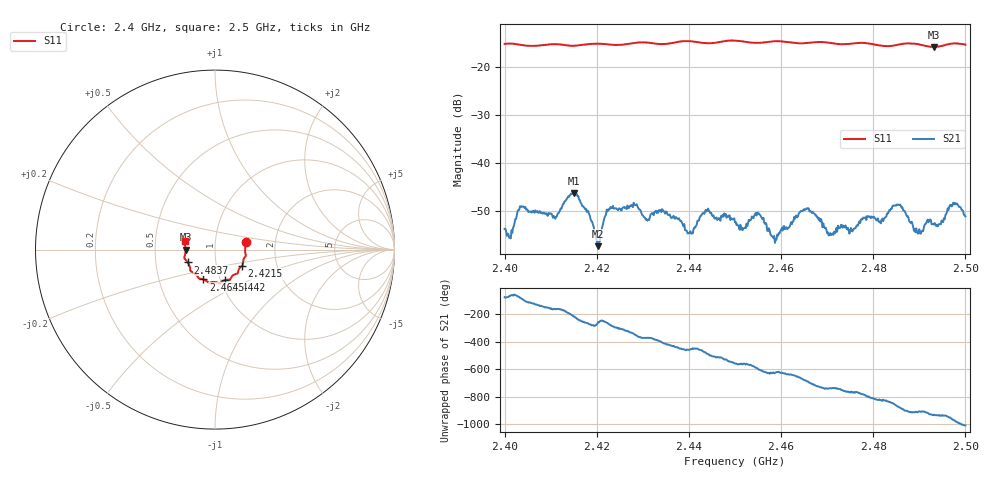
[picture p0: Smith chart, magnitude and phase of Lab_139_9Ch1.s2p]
# Hz S RI R 50
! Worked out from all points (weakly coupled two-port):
!   601 points, 2.4 GHz to 2.5 GHz, reference 50 ohm
!   highest |S21| = -46.23 dB at 2.415 GHz (marker M1); lowest = -57.3 dB at 2.4203 GHz (marker M2)
!   lowest |S11| = -15.7 dB at 2.4932 GHz (marker M3), VSWR 1.39, Z = 36 - j0.0565 ohm
!   |S11| at or under -10 dB: start of sweep to end of sweep
!   S12 and S22 are empty: the file has one direction only
!   S11 on the Smith chart (normalised r, x): 2.4 GHz: 1.41, +0.12; 2.4215 GHz: 1.33, -0.25; 2.4442 GHz: 1.05, -0.37; 2.4645 GHz: 0.83, -0.29; 2.4837 GHz: 0.73, -0.11; 2.5 GHz: 0.71, +0.07
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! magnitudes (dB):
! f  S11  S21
! 2.4 GHz  -15.1  -53.7
! 2.4037 GHz  -15.3  -49.1
! 2.4108 GHz  -15.1  -51.3
! 2.415 GHz  -15.5  -46.2
! 2.4167 GHz  -15.3  -48.5
! 2.4203 GHz  -15.0  -57.3
! 2.4215 GHz  -15.1  -52.0
! 2.4333 GHz  -15.1  -50.3
! 2.4403 GHz  -14.5  -54.2
! 2.4442 GHz  -15.0  -49.5
! 2.45 GHz  -14.4  -52.4
! 2.455 GHz  -14.9  -50.6
! 2.4585 GHz  -14.5  -55.2
! 2.4645 GHz  -15.0  -50.0
! 2.4667 GHz  -14.8  -50.4
! 2.4708 GHz  -14.9  -55.0
! 2.4833 GHz  -15.6  -50.2
! 2.4837 GHz  -15.5  -49.8
! 2.4893 GHz  -15.1  -53.6
! 2.4932 GHz  -15.7  -52.8
! 2.4977 GHz  -15.0  -48.6
! 2.5 GHz  -15.2  -51.1
